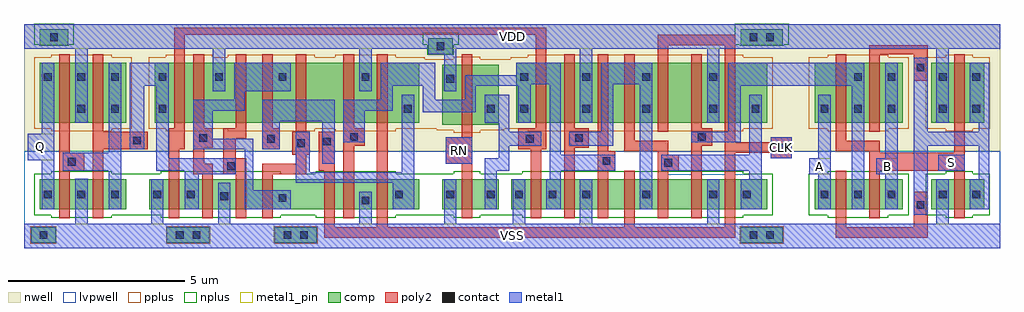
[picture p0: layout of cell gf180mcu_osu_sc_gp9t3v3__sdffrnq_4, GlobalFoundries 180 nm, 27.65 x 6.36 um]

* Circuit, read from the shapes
.subckt gf180mcu_osu_sc_gp9t3v3__sdffrnq_4 A B CLK Q RN S VDD VSS
XM1 VSS n1 Q VSS nfet_03v3 w=0.85u l=0.3u
XM2 n1 n2 VSS VSS nfet_03v3 w=0.85u l=0.3u
XM3 n2 n3 VSS VSS nfet_03v3 w=0.85u l=0.3u
XM4 VSS n4 n2 VSS nfet_03v3 w=0.85u l=0.3u
XM5 n5 n2 VSS VSS nfet_03v3 w=0.85u l=0.3u
XM6 n4 n6 n5 VSS nfet_03v3 w=0.85u l=0.3u
XM7 n7 CLK n4 VSS nfet_03v3 w=0.85u l=0.3u
XM8 VSS n8 n7 VSS nfet_03v3 w=0.85u l=0.3u
XM9 n6 CLK VSS VSS nfet_03v3 w=0.85u l=0.3u
XM10 n3 RN VSS VSS nfet_03v3 w=0.85u l=0.3u
XM11 n8 n3 VSS VSS nfet_03v3 w=0.85u l=0.3u
XM12 VSS n9 n8 VSS nfet_03v3 w=0.85u l=0.3u
XM13 n10 n8 VSS VSS nfet_03v3 w=0.85u l=0.3u
XM14 n9 CLK n10 VSS nfet_03v3 w=0.85u l=0.3u
XM15 n11 n12 n9 VSS nfet_03v3 w=0.85u l=0.3u
XM16 VSS n13 n11 VSS nfet_03v3 w=0.85u l=0.3u
XM17 n12 CLK VSS VSS nfet_03v3 w=0.85u l=0.3u
XM18 n13 n14 A VSS nfet_03v3 w=0.85u l=0.3u
XM19 B S n13 VSS nfet_03v3 w=0.85u l=0.3u
XM20 n14 S VSS VSS nfet_03v3 w=0.85u l=0.3u
XM21 VDD n1 Q VDD pfet_03v3 w=1.7u l=0.3u
XM22 n1 n2 VDD VDD pfet_03v3 w=1.7u l=0.3u
XM23 n15 n3 n2 VDD pfet_03v3 w=1.7u l=0.3u
XM24 VDD n4 n15 VDD pfet_03v3 w=1.7u l=0.3u
XM25 n16 n2 VDD VDD pfet_03v3 w=1.7u l=0.3u
XM26 n4 CLK n16 VDD pfet_03v3 w=1.7u l=0.3u
XM27 n17 n6 n4 VDD pfet_03v3 w=1.7u l=0.3u
XM28 VDD n8 n17 VDD pfet_03v3 w=1.7u l=0.3u
XM29 n6 CLK VDD VDD pfet_03v3 w=1.7u l=0.3u
XM30 n3 RN VDD VDD pfet_03v3 w=1.7u l=0.3u
XM31 n18 n3 n8 VDD pfet_03v3 w=1.7u l=0.3u
XM32 VDD n9 n18 VDD pfet_03v3 w=1.7u l=0.3u
XM33 n19 n8 VDD VDD pfet_03v3 w=1.7u l=0.3u
XM34 n9 n12 n19 VDD pfet_03v3 w=1.7u l=0.3u
XM35 n20 CLK n9 VDD pfet_03v3 w=1.7u l=0.3u
XM36 VDD n13 n20 VDD pfet_03v3 w=1.7u l=0.3u
XM37 n12 CLK VDD VDD pfet_03v3 w=1.7u l=0.3u
XM38 n13 S A VDD pfet_03v3 w=1.7u l=0.3u
XM39 B n14 n13 VDD pfet_03v3 w=1.7u l=0.3u
XM40 n14 S VDD VDD pfet_03v3 w=1.7u l=0.3u
.ends

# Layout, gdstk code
import gdstk
lib = gdstk.Library(unit=1e-6, precision=1e-09)
def R(c, l, rs):  # rectangles x0, y0, x1, y1
    for r in rs: c.add(gdstk.rectangle(r[:2], r[2:], *l))
def A(c, l, x, y, w, h, nx, ny, dx, dy):  # array of equal rectangles
    R(c, l, [(x+i*dx, y+j*dy, x+i*dx+w, y+j*dy+h) for i in range(nx) for j in range(ny)])
nwell = (21, 0)
comp = (22, 0)
poly2 = (30, 0)
pplus = (31, 0)
nplus = (32, 0)
contact = (33, 0)
metal1 = (34, 0)
metal1_pin = (34, 10)
lvpwell = (204, 0)

gf180mcu_osu_sc_gp9t3v3_ = lib.new_cell('gf180mcu_osu_sc_gp9t3v3__sdffrnq_4')
R(gf180mcu_osu_sc_gp9t3v3_, nwell, [(0,2.75,27.65,6.35)])
R(gf180mcu_osu_sc_gp9t3v3_, comp, [(0.2,0.15,0.9,0.6), (4.05,0.15,5.25,0.6), (7.1,0.15,8.3,0.6), (20.3,0.15,21.5,0.6), (0.45,1.1,2.895,1.95), (3.55,1.1,11.2,1.95), (11.85,1.1,13.45,1.95), (13.8,1.1,21.05,1.95), (22.395,1.1,24.9,1.95), (25.7,1.1,27.2,1.95), (11.85,3.5,13.45,5.2), (0.45,3.55,2.895,5.25), (3.7,3.55,11.2,5.25), (13.95,3.55,21.05,5.25), (22.395,3.55,24.9,5.25), (25.7,3.55,27.2,5.25), (11.45,5.5,12.15,5.95), (0.45,5.75,1.25,6.2), (20.3,5.75,21.5,6.2)])
R(gf180mcu_osu_sc_gp9t3v3_, poly2, [(8.5,0.3,20.15,0.6), (23,0.3,25.6,0.6), (8.5,0.6,8.8,2.2), (10,0.6,10.3,5.5), (17,0.6,17.3,2.2), (19.85,0.6,20.15,2.7), (23,0.6,23.3,2.2), (25.2,0.6,25.6,1.6), (1,0.85,1.3,2.2), (1.95,0.85,2.25,2.8), (4.1,0.85,4.4,2.8), (5.05,0.85,5.35,2.1), (6,0.85,6.3,2.1), (6.75,0.85,7.05,2.1), (9.05,0.85,9.35,2.9), (12.4,0.85,12.7,2.4), (14.35,0.85,14.65,2.8), (15.3,0.85,15.6,2.85), (16.25,0.85,16.55,2.2), (17.95,0.85,18.25,2.2), (18.9,0.85,19.2,2.9), (23.95,0.85,24.25,2.2), (26.35,0.85,26.65,2.2), (4.8,2.1,5.35,2.4), (5.65,2.1,6.3,2.55), (6.75,2.1,8,2.4), (1,2.2,1.7,2.7), (8.35,2.2,8.8,3.3), (16.25,2.2,16.75,2.75), (17.95,2.2,18.55,2.65), (23.95,2.2,26.65,2.7), (4.8,2.4,5.1,2.85), (7.7,2.4,8,2.65), (11.95,2.4,12.7,3.15), (5.65,2.55,6,3.1), (21.15,2.55,21.75,2.7), (7.6,2.65,8.1,3.3), (17.95,2.65,18.25,2.75), (1,2.7,1.3,5.5), (19.85,2.7,21.75,3), (23.95,2.7,24.25,2.75), (26.35,2.7,26.65,5.5), (16.25,2.75,16.55,5.5), (17,2.75,18.25,3.05), (23,2.75,24.25,3.05), (1.95,2.8,3.5,3.3), (4.1,2.8,4.55,3.4), (6.75,2.8,7.25,3.4), (14,2.8,14.8,3.4), (4.8,2.85,5.35,3.4), (15.3,2.85,16,3.4), (9.05,2.9,9.65,3.4), (18.9,2.9,19.5,3.4), (19.85,3,20.15,5.75), (21.15,3,21.75,3.15), (17,3.05,17.3,5.5), (23,3.05,23.3,5.5), (5.65,3.1,6.3,3.4), (12.4,3.15,12.7,5.5), (1.95,3.3,2.25,5.5), (7.7,3.3,8,5.5), (17.95,3.3,18.25,5.75), (23.95,3.3,24.25,5.5), (4.25,3.4,4.55,6.05), (4.8,3.4,5.1,5.5), (6,3.4,6.3,5.5), (6.75,3.4,7.05,5.5), (9.05,3.4,9.35,5.5), (14.5,3.4,14.8,6.05), (15.3,3.4,15.6,5.5), (18.9,3.4,19.2,5.5), (25.2,4.75,25.6,5.5), (23.95,5.5,25.6,5.75), (17.95,5.75,20.15,6.05), (4.25,6.05,14.8,6.25)])
R(gf180mcu_osu_sc_gp9t3v3_, pplus, [(0.18,0.13,0.92,0.62), (4.03,0.13,5.27,0.62), (7.08,0.13,8.32,0.62), (20.28,0.13,21.52,0.62), (12.17,3.27,12.93,3.34), (0.77,3.32,2.48,3.39), (4.02,3.32,5.33,3.39), (5.77,3.32,8.23,3.39), (8.82,3.32,10.53,3.39), (14.27,3.32,20.38,3.39), (22.77,3.32,24.48,3.39), (26.12,3.32,26.88,3.39), (11.69,3.34,13.61,3.39), (0.29,3.39,3.055,5.41), (3.54,3.39,21.21,5.36), (22.235,3.39,25.06,5.41), (25.54,3.39,27.36,5.41), (3.54,5.36,11.36,5.41), (12.17,5.36,12.93,5.43), (13.79,5.36,21.21,5.41), (0.77,5.41,2.48,5.48), (4.02,5.41,5.33,5.48), (5.77,5.41,8.23,5.48), (8.82,5.41,10.53,5.48), (14.27,5.41,20.38,5.48), (22.77,5.41,24.48,5.48), (26.12,5.41,26.88,5.48)])
R(gf180mcu_osu_sc_gp9t3v3_, nplus, [(0.77,0.87,2.48,0.94), (3.87,0.87,7.28,0.94), (8.27,0.87,10.53,0.94), (12.17,0.87,12.93,0.94), (14.12,0.87,20.38,0.94), (22.77,0.87,24.48,0.94), (26.12,0.87,26.88,0.94), (0.29,0.94,21.21,2.11), (22.235,0.94,25.06,2.11), (25.54,0.94,27.36,2.11), (0.77,2.11,2.48,2.18), (3.87,2.11,7.28,2.18), (8.27,2.11,10.53,2.18), (12.17,2.11,12.93,2.18), (14.12,2.11,20.38,2.18), (22.77,2.11,24.48,2.18), (26.12,2.11,26.88,2.18), (11.43,5.48,12.17,5.76), (0.43,5.73,1.27,5.76), (20.28,5.73,21.52,5.76), (0.29,5.76,1.41,6.36), (11.29,5.76,12.31,6.11), (20.14,5.76,21.66,6.36)])
A(gf180mcu_osu_sc_gp9t3v3_, contact, 0.565, 1.415, 0.22, 0.22, 3, 2, 0.95, 3.325)
A(gf180mcu_osu_sc_gp9t3v3_, contact, 13.915, 1.415, 0.22, 0.22, 3, 1, 0.95, 0)
A(gf180mcu_osu_sc_gp9t3v3_, contact, 22.565, 1.415, 0.22, 0.22, 3, 2, 0.95, 2.425)
R(gf180mcu_osu_sc_gp9t3v3_, contact, [(0.44,0.265,0.66,0.485), (4.305,0.265,4.525,0.485), (4.775,0.265,4.995,0.485), (7.355,0.265,7.575,0.485), (7.825,0.265,8.045,0.485), (20.555,0.265,20.775,0.485), (21.025,0.265,21.245,0.485), (25.29,1.115,25.51,1.335), (9.565,1.24,9.785,1.46), (7.215,1.315,7.435,1.535), (5.565,1.365,5.785,1.585), (3.665,1.415,3.885,1.635), (4.615,1.415,4.835,1.635), (10.515,1.415,10.735,1.635), (11.965,1.415,12.185,1.635), (13.115,1.415,13.335,1.635), (17.515,1.415,17.735,1.635), (19.415,1.415,19.635,1.635), (20.365,1.415,20.585,1.635), (25.915,1.415,26.135,1.635), (26.865,1.415,27.085,1.635), (5.765,2.215,5.985,2.435), (18.14,2.315,18.36,2.535), (1.24,2.34,1.46,2.56), (26.165,2.34,26.385,2.56), (16.39,2.365,16.61,2.585), (12.215,2.665,12.435,2.885), (21.34,2.74,21.56,2.96), (7.74,2.865,7.96,3.085), (8.465,2.915,8.685,3.135), (3.09,2.94,3.31,3.16), (6.89,2.99,7.11,3.21), (14.215,2.99,14.435,3.21), (4.965,3.015,5.185,3.235), (15.615,3.015,15.835,3.235), (9.24,3.04,9.46,3.26), (19.09,3.04,19.31,3.26), (1.515,3.84,1.735,4.06), (2.465,3.84,2.685,4.06), (3.815,3.84,4.035,4.06), (10.765,3.84,10.985,4.06), (13.115,3.84,13.335,4.06), (14.065,3.84,14.285,4.06), (15.815,3.84,16.035,4.06), (17.515,3.84,17.735,4.06), (19.415,3.84,19.635,4.06), (20.615,3.84,20.835,4.06), (25.915,3.84,26.135,4.06), (26.865,3.84,27.085,4.06), (11.965,4.69,12.185,4.91), (3.815,4.74,4.035,4.96), (5.415,4.74,5.635,4.96), (7.215,4.74,7.435,4.96), (9.565,4.74,9.785,4.96), (14.065,4.74,14.285,4.96), (15.815,4.74,16.035,4.96), (17.515,4.74,17.735,4.96), (19.415,4.74,19.635,4.96), (23.515,4.74,23.735,4.96), (24.465,4.74,24.685,4.96), (25.915,4.74,26.135,4.96), (26.865,4.74,27.085,4.96), (25.29,5.01,25.51,5.23), (11.69,5.615,11.91,5.835), (0.74,5.865,0.96,6.085), (20.555,5.865,20.775,6.085), (21.025,5.865,21.245,6.085)])
R(gf180mcu_osu_sc_gp9t3v3_, metal1, [(0,0,27.65,0.7), (1.45,0.7,1.805,1.97), (3.6,0.7,3.95,1.95), (5.5,0.7,5.85,1.85), (9.5,0.7,9.85,1.6), (11.9,0.7,12.25,1.95), (13.85,0.7,14.2,1.95), (15.75,0.7,16.1,1.95), (19.35,0.7,19.7,1.95), (25.85,0.7,26.2,1.95), (25.2,0.95,25.6,2.9), (0.5,1.1,0.85,2.5), (2.4,1.1,2.75,2.2), (4.55,1.1,4.95,2.1), (6.25,1.1,7.55,1.65), (10.45,1.1,11.05,1.85), (13.05,1.1,13.4,2.2), (14.8,1.1,15.2,1.95), (17.45,1.1,17.8,4.65), (20.3,1.1,20.9,1.95), (22.5,1.1,22.85,2.1), (23.45,1.1,23.8,4.6), (24.4,1.1,24.75,2.1), (26.8,1.1,27.35,1.95), (6.25,1.65,6.5,2.8), (7.7,1.85,11.05,2.15), (14.9,1.95,15.2,2.2), (20.55,1.95,20.9,2.2), (27.05,1.95,27.35,2.9), (4.55,2.1,6,2.2), (22.25,2.1,22.85,2.55), (24.15,2.1,24.75,2.55), (7.7,2.15,8.1,3.3), (10.7,2.15,11.05,4.35), (1.1,2.2,2.75,2.7), (3.75,2.2,6,2.55), (13.05,2.2,13.75,2.55), (14.9,2.2,16.75,2.65), (18.05,2.2,20.9,2.65), (25.9,2.2,26.65,2.65), (8.45,2.4,8.8,3.6), (11.95,2.4,12.7,3.15), (0.1,2.5,0.85,3.25), (3.75,2.55,4.1,4.6), (13.45,2.55,13.75,2.9), (21.15,2.55,21.75,3.15), (22.5,2.55,22.85,4.35), (24.4,2.55,24.75,5.25), (14.9,2.65,15.2,4.65), (20.55,2.65,20.9,4.35), (2.4,2.7,2.75,5.25), (3,2.8,3.4,4.6), (4.8,2.8,6.5,3.1), (6.75,2.8,7.25,3.6), (13.45,2.9,14.65,3.3), (15.45,2.9,16.7,3.3), (25.2,2.9,27.35,3.3), (9.05,3,9.65,3.9), (18.9,3,20.3,3.3), (4.8,3.1,5.35,3.9), (0.5,3.25,0.85,5.25), (13.45,3.3,13.75,3.55), (16.35,3.3,16.7,4.65), (19.95,3.3,20.3,4.6), (25.2,3.3,25.6,5.4), (27.05,3.3,27.35,3.55), (1.45,3.55,1.8,4.2), (13.05,3.55,13.75,4.35), (14,3.55,14.35,4.6), (15.75,3.55,16.1,5.65), (19.35,3.55,19.7,5.65), (25.85,3.55,26.2,5.65), (26.8,3.55,27.35,5.25), (6.75,3.6,8.8,4.2), (11.3,3.85,12.8,4.2), (4.8,3.9,6.25,4.2), (9.05,3.9,10.45,4.2), (1.45,4.2,1.805,5.65), (5.95,4.2,6.25,4.45), (10.1,4.2,10.45,4.6), (11.3,4.2,11.65,4.6), (12.5,4.2,12.8,4.6), (5.35,4.45,5.7,5.65), (5.95,4.45,7.55,5.25), (9.5,4.45,9.85,5.65), (11.9,4.45,12.25,5.5), (3,4.6,4.1,5.25), (10.1,4.6,11.65,5.25), (12.5,4.6,14.35,4.65), (19.95,4.6,23.8,5.25), (12.5,4.65,15.2,4.9), (16.35,4.65,17.8,5.25), (13.95,4.9,15.2,5.25), (11.45,5.5,12.25,5.65), (0,5.65,27.65,6.35)])
R(gf180mcu_osu_sc_gp9t3v3_, metal1_pin, [(0,0,27.65,0.7), (22.25,2.1,22.85,2.55), (24.15,2.1,24.75,2.55), (25.9,2.2,26.65,2.65), (11.95,2.4,12.7,3.15), (0.1,2.5,0.85,3.25), (21.15,2.55,21.75,3.15), (0,5.65,27.65,6.35)])
R(gf180mcu_osu_sc_gp9t3v3_, lvpwell, [(0,0,27.65,2.1), (0,2.1,18.25,2.2), (18.9,2.1,19.2,2.2), (19.85,2.1,20.15,2.2), (20.55,2.1,27.65,2.2), (0,2.2,27.65,2.75)])
gf180mcu_osu_sc_gp9t3v3_.add(gdstk.Label('VDD', (13.825,6), layer=34, texttype=10))
gf180mcu_osu_sc_gp9t3v3_.add(gdstk.Label('VSS', (13.825,0.35), layer=34, texttype=10))
gf180mcu_osu_sc_gp9t3v3_.add(gdstk.Label('A', (22.55,2.325), layer=34, texttype=10))
gf180mcu_osu_sc_gp9t3v3_.add(gdstk.Label('B', (24.45,2.325), layer=34, texttype=10))
gf180mcu_osu_sc_gp9t3v3_.add(gdstk.Label('S', (26.275,2.425), layer=34, texttype=10))
gf180mcu_osu_sc_gp9t3v3_.add(gdstk.Label('CLK', (21.45,2.85), layer=34, texttype=10))
gf180mcu_osu_sc_gp9t3v3_.add(gdstk.Label('RN', (12.325,2.775), layer=34, texttype=10))
gf180mcu_osu_sc_gp9t3v3_.add(gdstk.Label('Q', (0.475,2.875), layer=34, texttype=10))

lib.write_gds('gf180mcu_osu_sc_gp9t3v3__sdffrnq_4.gds')
